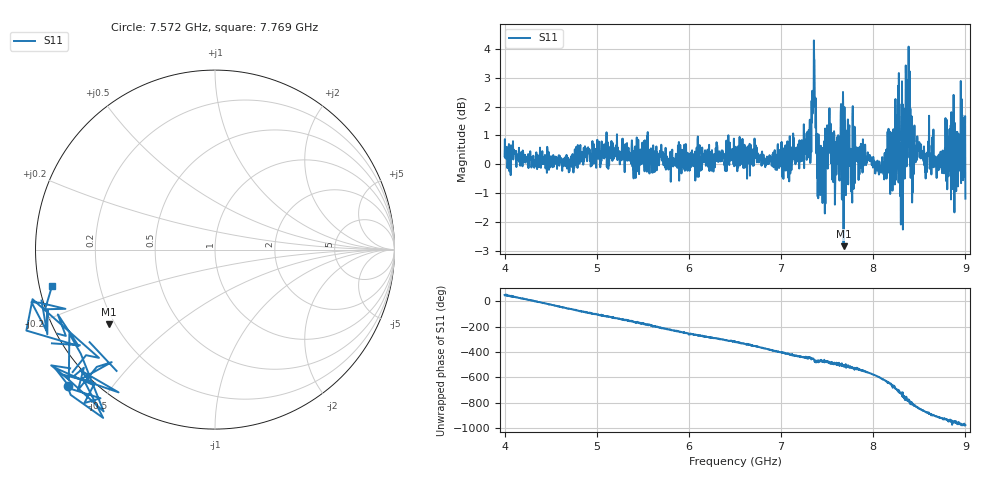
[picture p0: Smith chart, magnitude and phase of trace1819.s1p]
! Created with skrf 1.8.0 (http://scikit-rf.org).
# Hz S RI R 50.0
!freq ReS11 ImS11
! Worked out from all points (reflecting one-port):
!   1601 points, 4 GHz to 9 GHz, reference 50 ohm
!   lowest |S11| = -2.8 dB at 7.678 GHz (marker M1), VSWR 6.17, Z = 8.89 - j15.4 ohm
!   phase of S11 starts at 51 deg and turns -1029 deg over the sweep
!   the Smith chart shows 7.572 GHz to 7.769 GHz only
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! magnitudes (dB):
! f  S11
! 4 GHz  0.3
! 4.625 GHz  -0.2
! 5.25 GHz  0.0
! 5.875 GHz  -0.1
! 6.5 GHz  0.5
! 7.125 GHz  0.6
! 7.303 GHz  1.0
! 7.356 GHz  4.3
! 7.381 GHz  1.0
! 7.4 GHz  0.2
! 7.422 GHz  -1.0
! 7.512 GHz  0.8
! 7.578 GHz  1.0
! 7.65 GHz  2.1
! 7.678 GHz  -2.8
! 7.75 GHz  -0.1
! 8.094 GHz  -0.1
! 8.228 GHz  0.9
! 8.262 GHz  0.0
! 8.316 GHz  0.2
! 8.334 GHz  0.9
! 8.347 GHz  0.6
! 8.375 GHz  2.0
! 8.425 GHz  0.0
! 8.556 GHz  0.0
! 8.875 GHz  0.1
! 8.972 GHz  0.5
! 9 GHz  -1.2
